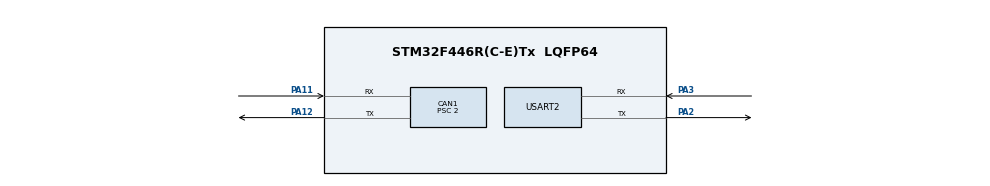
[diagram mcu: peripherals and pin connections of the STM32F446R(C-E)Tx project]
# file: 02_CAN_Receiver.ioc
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CAN1.BS1=CAN_BS1_13TQ
CAN1.BS2=CAN_BS2_2TQ
CAN1.CalculateBaudRate=500000
CAN1.CalculateTimeBit=2000
CAN1.CalculateTimeQuantum=125.0
CAN1.Prescaler=2
Mcu.Family=STM32F4
Mcu.Name=STM32F446R(C-E)Tx
Mcu.Package=LQFP64
NVIC.PriorityGroup=NVIC_PRIORITYGROUP_4
PA11.Mode=CAN_Activate
PA11.Signal=CAN1_RX
PA12.Mode=CAN_Activate
PA12.Signal=CAN1_TX
PA2.Mode=Asynchronous
PA2.Signal=USART2_TX
PA3.Mode=Asynchronous
PA3.Signal=USART2_RX
ProjectManager.HeapSize=0x200
ProjectManager.StackSize=0x400
ProjectManager.TargetToolchain=STM32CubeIDE
RCC.CortexFreq_Value=16000000
RCC.USBFreq_Value=96000000
RCC.VCOOutputFreq_Value=192000000
USART2.VirtualMode=VM_ASYNC
board=custom

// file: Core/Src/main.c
/* USER CODE BEGIN Header */
/**
  ******************************************************************************
  * @file           : main.c
  * @brief          : CAN Receiver
  ******************************************************************************
  */
/* USER CODE END Header */

#include "main.h"

/* USER CODE BEGIN Includes */
#include <stdio.h>
/* USER CODE END Includes */

CAN_HandleTypeDef hcan1;

UART_HandleTypeDef huart2;

void SystemClock_Config(void);
static void MX_GPIO_Init(void);
static void MX_CAN1_Init(void);
static void MX_USART2_UART_Init(void);

/* USER CODE BEGIN 0 */

int __io_putchar(int ch)
{
    HAL_UART_Transmit(&huart2, (uint8_t *)&ch, 1, HAL_MAX_DELAY);
    return ch;
}

/* USER CODE END 0 */

int main(void)
{
    /* USER CODE BEGIN 1 */

    CAN_RxHeaderTypeDef RxHeader;
    uint8_t RxData[8];

    CAN_FilterTypeDef canFilter;

    /* USER CODE END 1 */

    /* MCU Configuration--------------------------------------------------------*/

    HAL_Init();

    /* Configure the system clock */
    SystemClock_Config();

    /* Initialize all configured peripherals */
    MX_GPIO_Init();

    /*
     * UART를 CAN보다 먼저 초기화
     * CAN 초기화 과정에서 문제가 생겼는지 printf로 확인하기 위해서
     */
    MX_USART2_UART_Init();

    printf("\r\n");
    printf("===== CAN RECEIVER =====\r\n");
    printf("UART OK\r\n");

    /* CAN 초기화 */
    MX_CAN1_Init();

    printf("CAN INIT OK\r\n");

    /* USER CODE BEGIN 2 */

    /*
     * CAN Filter 설정
     *
     * 현재는 모든 CAN ID를 수신하도록 설정
     */
    canFilter.FilterBank = 0;

    canFilter.FilterMode = CAN_FILTERMODE_IDMASK;

    canFilter.FilterScale = CAN_FILTERSCALE_32BIT;

    canFilter.FilterIdHigh = 0x0000;

    canFilter.FilterIdLow = 0x0000;

    canFilter.FilterMaskIdHigh = 0x0000;

    canFilter.FilterMaskIdLow = 0x0000;

    canFilter.FilterFIFOAssignment = CAN_FILTER_FIFO0;

    canFilter.FilterActivation = ENABLE;

    canFilter.SlaveStartFilterBank = 14;

    /*
     * CAN Filter 적용
     */
    if (HAL_CAN_ConfigFilter(&hcan1, &canFilter) != HAL_OK)
    {
        printf("CAN FILTER ERROR\r\n");

        Error_Handler();
    }

    printf("CAN FILTER OK\r\n");

    /*
     * CAN 동작 시작
     */
    if (HAL_CAN_Start(&hcan1) != HAL_OK)
    {
        printf("CAN START ERROR\r\n");

        Error_Handler();
    }

    printf("CAN START OK\r\n");
    printf("Waiting CAN Message...\r\n");

    /* USER CODE END 2 */

    /* Infinite loop */
    /* USER CODE BEGIN WHILE */

    while (1)
    {
        /*
         * FIFO0에 수신된 CAN 메시지가 있는지 확인
         */
        if (HAL_CAN_GetRxFifoFillLevel(&hcan1, CAN_RX_FIFO0) > 0)
        {
            /*
             * CAN 메시지 읽기
             */
            if (HAL_CAN_GetRxMessage(
                    &hcan1,
                    CAN_RX_FIFO0,
                    &RxHeader,
                    RxData) == HAL_OK)
            {
                /*
                 * 수신 CAN ID 출력
                 */
                printf(
                    "CAN RX : ID=0x%03lX DATA=",
                    RxHeader.StdId
                );

                /*
                 * DLC만큼 데이터 출력
                 */
                for (int i = 0; i < RxHeader.DLC; i++)
                {
                    printf("%02X ", RxData[i]);
                }

                printf("\r\n");
            }
        }
    }

    /* USER CODE END WHILE */
}

void SystemClock_Config(void)
{
    RCC_OscInitTypeDef RCC_OscInitStruct = {0};
    RCC_ClkInitTypeDef RCC_ClkInitStruct = {0};

    /**
     * Configure the main internal regulator output voltage
     */
    __HAL_RCC_PWR_CLK_ENABLE();

    __HAL_PWR_VOLTAGESCALING_CONFIG(
        PWR_REGULATOR_VOLTAGE_SCALE3
    );

    /**
     * Initializes the RCC Oscillators
     */
    RCC_OscInitStruct.OscillatorType =
        RCC_OSCILLATORTYPE_HSI;

    RCC_OscInitStruct.HSIState =
        RCC_HSI_ON;

    RCC_OscInitStruct.HSICalibrationValue =
        RCC_HSICALIBRATION_DEFAULT;

    RCC_OscInitStruct.PLL.PLLState =
        RCC_PLL_NONE;

    if (HAL_RCC_OscConfig(
            &RCC_OscInitStruct) != HAL_OK)
    {
        Error_Handler();
    }

    /**
     * Initializes CPU, AHB and APB clocks
     */
    RCC_ClkInitStruct.ClockType =
        RCC_CLOCKTYPE_HCLK |
        RCC_CLOCKTYPE_SYSCLK |
        RCC_CLOCKTYPE_PCLK1 |
        RCC_CLOCKTYPE_PCLK2;

    RCC_ClkInitStruct.SYSCLKSource =
        RCC_SYSCLKSOURCE_HSI;

    RCC_ClkInitStruct.AHBCLKDivider =
        RCC_SYSCLK_DIV1;

    RCC_ClkInitStruct.APB1CLKDivider =
        RCC_HCLK_DIV1;

    RCC_ClkInitStruct.APB2CLKDivider =
        RCC_HCLK_DIV1;

    if (HAL_RCC_ClockConfig(
            &RCC_ClkInitStruct,
            FLASH_LATENCY_0) != HAL_OK)
    {
        Error_Handler();
    }
}

static void MX_CAN1_Init(void)
{

    hcan1.Instance = CAN1;

    /*
     * CAN Clock = 16 MHz
     *
     * Prescaler = 2
     * BS1 = 13 TQ
     * BS2 = 2 TQ
     *
     * Baud Rate = 500 kbps
     */
    hcan1.Init.Prescaler = 2;

    hcan1.Init.Mode =
        CAN_MODE_NORMAL;

    hcan1.Init.SyncJumpWidth =
        CAN_SJW_1TQ;

    hcan1.Init.TimeSeg1 =
        CAN_BS1_13TQ;

    hcan1.Init.TimeSeg2 =
        CAN_BS2_2TQ;

    hcan1.Init.TimeTriggeredMode =
        DISABLE;

    hcan1.Init.AutoBusOff =
        DISABLE;

    hcan1.Init.AutoWakeUp =
        DISABLE;

    /*
     * Receiver에서는 크게 중요하지 않음
     */
    hcan1.Init.AutoRetransmission =
        DISABLE;

    hcan1.Init.ReceiveFifoLocked =
        DISABLE;

    hcan1.Init.TransmitFifoPriority =
        DISABLE;

    if (HAL_CAN_Init(&hcan1) != HAL_OK)
    {
        Error_Handler();
    }

}

static void MX_USART2_UART_Init(void)
{

    huart2.Instance =
        USART2;

    huart2.Init.BaudRate =
        115200;

    huart2.Init.WordLength =
        UART_WORDLENGTH_8B;

    huart2.Init.StopBits =
        UART_STOPBITS_1;

    huart2.Init.Parity =
        UART_PARITY_NONE;

    huart2.Init.Mode =
        UART_MODE_TX_RX;

    huart2.Init.HwFlowCtl =
        UART_HWCONTROL_NONE;

    huart2.Init.OverSampling =
        UART_OVERSAMPLING_16;

    if (HAL_UART_Init(&huart2) != HAL_OK)
    {
        Error_Handler();
    }

}

static void MX_GPIO_Init(void)
{

    /* GPIO Ports Clock Enable */
    __HAL_RCC_GPIOA_CLK_ENABLE();

}

void Error_Handler(void)
{
    __disable_irq();
    while (1)
    {
    }
}
